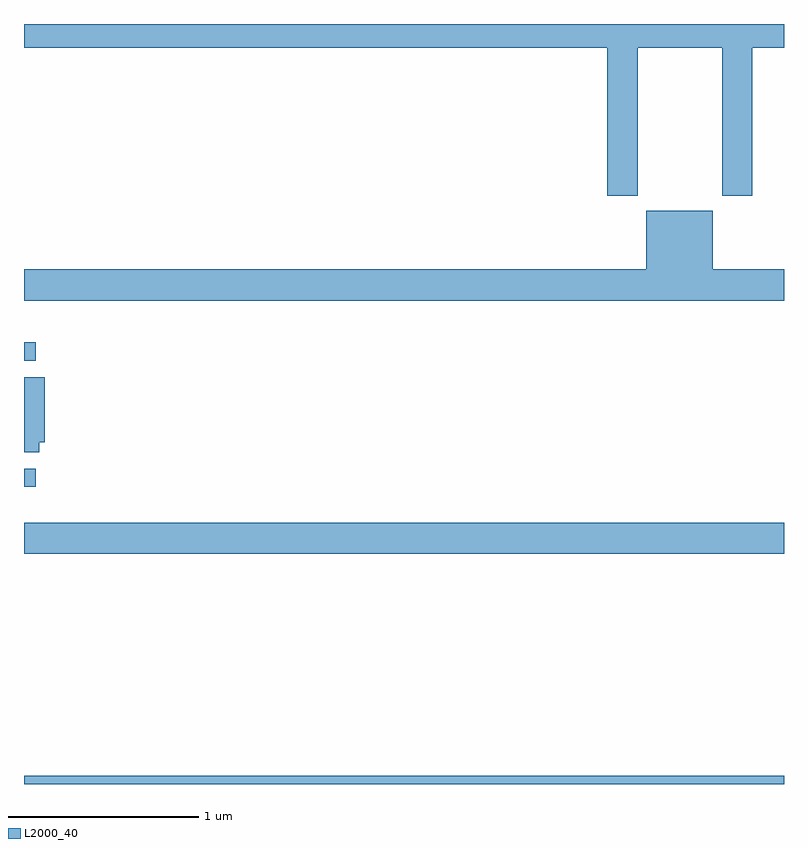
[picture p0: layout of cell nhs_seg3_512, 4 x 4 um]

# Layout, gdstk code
import gdstk
lib = gdstk.Library(unit=1e-6, precision=1e-09)
def R(c, l, rs):  # rectangles x0, y0, x1, y1
    for r in rs: c.add(gdstk.rectangle(r[:2], r[2:], *l))
def P(c, l, *ps):  # polygons
    for p in ps: c.add(gdstk.Polygon(p, *l))
L2000_40 = (2000, 40)

nhs_seg3_512 = lib.new_cell('nhs_seg3_512')
R(nhs_seg3_512, L2000_40, [(137,670.4,141,670.444), (137,671.612,141,671.776), (137,671.964,137.062,672.06), (137,672.627,137.062,672.726)])
P(nhs_seg3_512, L2000_40, [(140.229,674.276),(140.674,674.276),(140.674,673.497),(140.834,673.497),(140.834,674.276),(141,674.276),(141,674.4),(137,674.4),(137,674.276),(140.069,674.276),(140.069,673.497),(140.229,673.497)],
  [(141,673.108),(140.626,673.108),(140.626,673.417),(140.276,673.417),(140.276,673.108),(137,673.108),(137,672.944),(141,672.944)],
  [(137.081,672.198),(137.108,672.198),(137.108,672.542),(137,672.542),(137,672.145),(137.081,672.145)])

lib.write_gds('nhs_seg3_512.gds')
